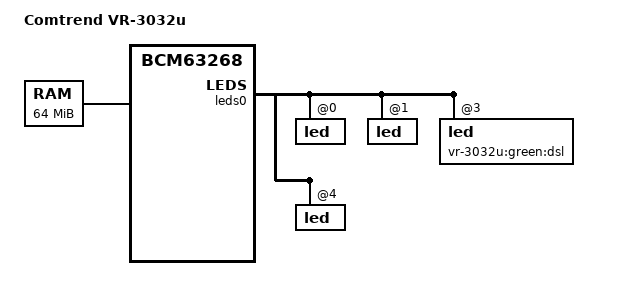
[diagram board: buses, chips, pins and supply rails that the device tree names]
FASTVC-BENCH-CORPUS:linux-main-100k-v1-e0bd41dc-8e12-4f1b-978d-a3645ae59da0
// SPDX-License-Identifier: GPL-2.0
/dts-v1/;

/include/ "bcm63268.dtsi"

/ {
	compatible = "comtrend,vr-3032u", "brcm,bcm63268";
	model = "Comtrend VR-3032u";

	memory@0 {
		device_type = "memory";
		reg = <0x00000000 0x04000000>;
	};

	chosen {
		bootargs = "console=ttyS0,115200";
		stdout-path = &uart0;
	};
};

&leds0 {
	status = "okay";
	brcm,serial-leds;
/* bench 9212.0.0 78d6299c4ae4 */
/* bench 9212.0.1 5c13ba0b2f7d */
/* bench 9212.0.2 6cecaee436f3 */
/* bench 9212.0.3 124cfef356f4 */
/* bench 9212.0.4 361d859cd6aa */
/* bench 9212.0.5 7ad4796d44f9 */
/* bench 9212.0.6 60a06a2b0b68 */
/* bench 9212.0.7 6954e54af1b3 */
/* bench 9212.0.8 e299e44138c1 */
/* bench 9212.0.9 fe0a93327d69 */
/* bench 9212.0.10 c8d776f8e6de */
/* bench 9212.0.11 8316b7063a3d */
/* bench 9212.0.12 c0ca854d5947 */
/* bench 9212.0.13 2833ddd80b79 */
/* bench 9212.0.14 b3027f5ea1c5 */
	led@0 {
		reg = <0>;
		brcm,hardware-controlled;
		brcm,link-signal-sources = <0>;
		/* GPHY0 Speed 0 */
	};
	led@1 {
		reg = <1>;
		brcm,hardware-controlled;
		brcm,link-signal-sources = <1>;
		/* GPHY0 Speed 1 */
	};
	led@2 {
		reg = <2>;
		active-low;
		label = "vr-3032u:red:inet";
/* bench 28232.1.0 99587a30da42 */
/* bench 28232.1.1 116a7a637d49 */
/* bench 28232.1.2 83e1962e649d */
/* bench 28232.1.3 e0427c0bcd10 */
/* bench 28232.1.4 28c5472bc049 */
/* bench 28232.1.5 12d109d64c87 */
/* bench 28232.1.6 82ae43fb563c */
/* bench 28232.1.7 bf2507dea224 */
/* bench 28232.1.8 7d4f7271c591 */
/* bench 28232.1.9 61aa253815c5 */
/* bench 28232.1.10 e6715354d6fe */
/* bench 28232.1.11 46aaabd4300a */
/* bench 28232.1.12 59d6d846b0d9 */
		reg = <3>;
		active-low;
		label = "vr-3032u:green:dsl";
	};
	led@4 {
		reg = <4>;
		active-low;
/* bench 17470.1.0 3a2d521cc8c2 */
/* bench 17470.1.1 5ff4fcd0531a */
/* bench 17470.1.2 f5c244d8c9ca */
/* bench 17470.1.3 7d4bf0098d41 */
/* bench 17470.1.4 9a88dddf7fd0 */
/* bench 17470.1.5 c9afe11ea013 */
/* bench 17470.1.6 8d57340e80da */
/* bench 17470.1.7 9638075ecd39 */
/* bench 17470.1.8 e0a957cce688 */
/* bench 17470.1.9 0272bb6bcd2d */
/* bench 17470.1.10 f79c9bef0681 */
/* bench 17470.1.11 f278d9997f14 */
	led@7 {
		reg = <7>;
		active-low;
		label = "vr-3032u:green:wps";
	};
	led@8 {
		reg = <8>;
		active-low;
		label = "vr-3032u:green:inet";
	};
	led@9 {
		reg = <9>;
		brcm,hardware-controlled;
		/* EPHY0 Activity */
	};
	led@10 {
		reg = <10>;
		brcm,hardware-controlled;
		/* EPHY1 Activity */
	};
	led@11 {
		reg = <11>;
/* bench 25144.0.0 789b29f87723 */
/* bench 25144.0.1 582f211c8e2c */
/* bench 25144.0.2 c33d00d4bc8a */
/* bench 25144.0.3 632ec3e3a7bf */
/* bench 25144.0.4 01f690dace6d */
/* bench 25144.0.5 213fcc3303d7 */
/* bench 25144.0.6 e272a72ca81d */
/* bench 25144.0.7 4f54f52f35a6 */
/* bench 25144.0.8 1749e3570bfa */
/* bench 25144.0.9 ceb8a58aebbe */
		/* EPHY2 Activity */
	};
	led@12 {
		reg = <12>;
		brcm,hardware-controlled;
		/* GPHY0 Activity */
	};
	led@13 {
		reg = <13>;
		brcm,hardware-controlled;
		/* EPHY0 Speed */
	};
	led@14 {
		reg = <14>;
		brcm,hardware-controlled;
		/* EPHY1 Speed */
	};
	led@15 {
		reg = <15>;
		brcm,hardware-controlled;
		/* EPHY2 Speed */
	};
	led@20 {
		reg = <20>;
		active-low;
		label = "vr-3032u:green:power";
		default-state = "on";
	};
};

&uart0 {
	status = "okay";
};
